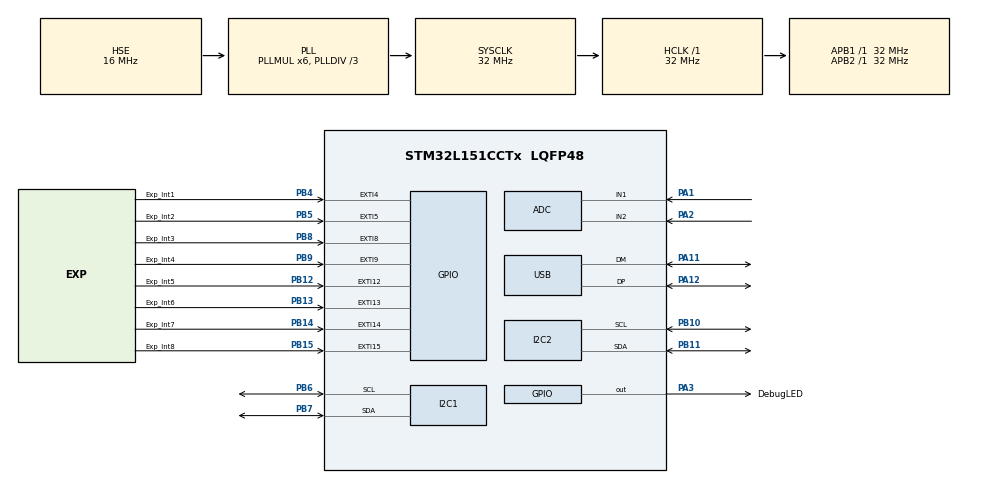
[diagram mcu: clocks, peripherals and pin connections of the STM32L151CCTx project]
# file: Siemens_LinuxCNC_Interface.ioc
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ADC.Channel-0\#ChannelRegularConversion=ADC_CHANNEL_1
ADC.Channel-1\#ChannelRegularConversion=ADC_CHANNEL_2
ADC.ClockPrescaler=ADC_CLOCK_ASYNC_DIV4
ADC.NbrOfConversion=2
ADC.NbrOfConversionFlag=1
ADC.Rank-0\#ChannelRegularConversion=1
ADC.Rank-1\#ChannelRegularConversion=2
ADC.SamplingTime-0\#ChannelRegularConversion=ADC_SAMPLETIME_192CYCLES
ADC.SamplingTime-1\#ChannelRegularConversion=ADC_SAMPLETIME_192CYCLES
Dma.ADC.0.Direction=DMA_PERIPH_TO_MEMORY
Dma.ADC.0.Instance=DMA1_Channel1
Dma.ADC.0.MemDataAlignment=DMA_MDATAALIGN_HALFWORD
Dma.ADC.0.MemInc=DMA_MINC_ENABLE
Dma.ADC.0.Mode=DMA_CIRCULAR
Dma.ADC.0.PeriphDataAlignment=DMA_PDATAALIGN_HALFWORD
Dma.ADC.0.PeriphInc=DMA_PINC_DISABLE
Dma.ADC.0.Priority=DMA_PRIORITY_LOW
Dma.Request0=ADC
I2C1.I2C_Mode=I2C_Fast
I2C2.I2C_Mode=I2C_Fast
Mcu.Family=STM32L1
Mcu.Name=STM32L151CCTx
Mcu.Package=LQFP48
NVIC.ADC1_IRQn=true\:1\:0\:true\:false\:true\:true\:true\:true
NVIC.DMA1_Channel1_IRQn=true\:0\:0\:false\:false\:true\:false\:true\:true
NVIC.EXTI15_10_IRQn=true\:0\:0\:false\:false\:true\:true\:true\:true
NVIC.EXTI4_IRQn=true\:0\:0\:false\:false\:true\:true\:true\:true
NVIC.EXTI9_5_IRQn=true\:0\:0\:false\:false\:true\:true\:true\:true
NVIC.PriorityGroup=NVIC_PRIORITYGROUP_4
NVIC.TIM3_IRQn=true\:0\:0\:false\:false\:true\:true\:true\:true
NVIC.USB_LP_IRQn=true\:0\:0\:false\:false\:true\:false\:true\:true
PA1.Mode=IN1
PA1.Signal=ADC_IN1
PA11.Mode=Device
PA11.Signal=USB_DM
PA12.Mode=Device
PA12.Signal=USB_DP
PA13.Mode=JTAG_4_pins
PA13.Signal=SYS_JTMS-SWDIO
PA14.Mode=JTAG_4_pins
PA14.Signal=SYS_JTCK-SWCLK
PA15.Mode=JTAG_4_pins
PA15.Signal=SYS_JTDI
PA2.Mode=IN2
PA2.Signal=ADC_IN2
PA3.GPIO_Label=DebugLED
PA3.Signal=GPIO_Output
PB10.Mode=I2C
PB10.Signal=I2C2_SCL
PB11.Mode=I2C
PB11.Signal=I2C2_SDA
PB12.GPIO_Label=Exp_Int5
PB12.GPIO_ModeDefaultEXTI=GPIO_MODE_IT_FALLING
PB12.Signal=GPXTI12
PB13.GPIO_Label=Exp_Int6
PB13.GPIO_ModeDefaultEXTI=GPIO_MODE_IT_FALLING
PB13.Signal=GPXTI13
PB14.GPIO_Label=Exp_Int7
PB14.GPIO_ModeDefaultEXTI=GPIO_MODE_IT_FALLING
PB14.Signal=GPXTI14
PB15.GPIO_Label=Exp_Int8
PB15.GPIO_ModeDefaultEXTI=GPIO_MODE_IT_FALLING
PB15.Signal=GPXTI15
PB3.Mode=JTAG_4_pins
PB3.Signal=SYS_JTDO-TRACESWO
PB4.GPIO_Label=Exp_Int1
PB4.GPIO_ModeDefaultEXTI=GPIO_MODE_IT_FALLING
PB4.Signal=GPXTI4
PB5.GPIO_Label=Exp_Int2
PB5.GPIO_ModeDefaultEXTI=GPIO_MODE_IT_FALLING
PB5.Signal=GPXTI5
PB6.Mode=I2C
PB6.Signal=I2C1_SCL
PB7.Mode=I2C
PB7.Signal=I2C1_SDA
PB8.GPIO_Label=Exp_Int3
PB8.GPIO_ModeDefaultEXTI=GPIO_MODE_IT_FALLING
PB8.Signal=GPXTI8
PB9.GPIO_Label=Exp_Int4
PB9.GPIO_ModeDefaultEXTI=GPIO_MODE_IT_FALLING
PB9.Signal=GPXTI9
PH0-OSC_IN.Mode=HSE-External-Oscillator
PH0-OSC_IN.Signal=RCC_OSC_IN
PH1-OSC_OUT.Mode=HSE-External-Oscillator
PH1-OSC_OUT.Signal=RCC_OSC_OUT
ProjectManager.HeapSize=0x200
ProjectManager.StackSize=0x400
ProjectManager.TargetToolchain=CMake
RCC.48MHZClocksFreq_Value=48000000
RCC.AHBFreq_Value=32000000
RCC.APB1Freq_Value=32000000
RCC.APB1TimFreq_Value=32000000
RCC.APB2Freq_Value=32000000
RCC.APB2TimFreq_Value=32000000
RCC.HCLKFreq_Value=32000000
RCC.HSE_VALUE=16000000
RCC.HSI_VALUE=16000000
RCC.LSE_VALUE=32768
RCC.MSI_VALUE=2097000
RCC.PLLDIV=RCC_PLL_DIV3
RCC.PLLMUL=RCC_PLL_MUL6
RCC.SYSCLKFreq_VALUE=32000000
RCC.SYSCLKSource=RCC_SYSCLKSOURCE_PLLCLK
RCC.VCOOutputFreq_Value=96000000
TIM3.AutoReloadPreload=TIM_AUTORELOAD_PRELOAD_ENABLE
TIM3.Period=5000
TIM3.Prescaler=3200
USB_DEVICE.CLASS_NAME_FS=CDC
USB_DEVICE.LANGID_STRING=1031
USB_DEVICE.MANUFACTURER_STRING=PedPEx
USB_DEVICE.PRODUCT_STRING_CDC_FS=SiemensInterface Virtual ComPort
USB_DEVICE.USBD_MAX_STR_DESC_SIZ=1024
USB_DEVICE.VirtualMode=Cdc
USB_DEVICE.VirtualModeFS=Cdc_FS
VP_TIM3_VS_ClockSourceINT.Mode=Internal
VP_USB_DEVICE_VS_USB_DEVICE_CDC_FS.Mode=CDC_FS
board=custom

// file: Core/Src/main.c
/* USER CODE BEGIN Header */
/**
  ******************************************************************************
  * @file           : main.c
  * @brief          : Main program body
  ******************************************************************************
  * @attention
  *
  * Copyright (c) 2025 STMicroelectronics.
  * All rights reserved.
  *
  * This software is licensed under terms that can be found in the LICENSE file
  * in the root directory of this software component.
  * If no LICENSE file comes with this software, it is provided AS-IS.
  *
  ******************************************************************************
  */
/* USER CODE END Header */
#include "main.h"
#include "usb_device.h"

/* USER CODE BEGIN Includes */
#include "pca9555.h"
#include "pca9555.c"
#include <stdbool.h>
#include "usbd_cdc_if.h"
#include <stdio.h>
#include <string.h>

#define adc_used 1
#define number_of_exp 8
#define number_of_input_exp 5
#define timeout 10000 //10 seconds

/* USER CODE END Includes */

ADC_HandleTypeDef hadc;
DMA_HandleTypeDef hdma_adc;

I2C_HandleTypeDef hi2c1;
I2C_HandleTypeDef hi2c2;

TIM_HandleTypeDef htim3;

/* USER CODE BEGIN PV */

//Serial COM varaibles
uint8_t SerialConnected = 0;    //0=not connected; 1=connected; 2=connection lost
uint32_t LastTickConnected = 0; //HAL Tick variable - used for serial timeout detection
bool manual_CMD_Mode = 0;       //used for costum CMD "E1:0", in manual mode no timeout occurs

//array of expander IDs, get's initialised in the init_expanders function
PCA9555_HandleTypeDef exp[number_of_exp];
//variable for reading inputs when ISR was triggered
bool inputChanged = false;    //true = inputs will be read; false = no toggled input detected
uint16_t toggledGPIO = 0;      //toggled gpio pin (expander still needs to be determined)
//varaible to find out which inputs changed
uint16_t raw_exp_inputdata[number_of_input_exp];
//Encoder data
uint8_t enc_gray[2] = {0,0};
uint8_t enc_pos[2] = {0,0};
uint8_t enc_retval[2] = {0,0};

//ADC variables
uint16_t rawADCvalues[2];
uint16_t oldADCvalues[2];
uint16_t ADCvalues[2] = {0,0};
bool adc_convCompleted = 0;
uint8_t adc_hysteresis = 5;

//all input expanders with ID
uint8_t input_expander[number_of_input_exp] = {1,2,3,5,6};

/* USER CODE END PV */

void SystemClock_Config(void);
static void MX_GPIO_Init(void);
static void MX_DMA_Init(void);
static void MX_ADC_Init(void);
static void MX_I2C1_Init(void);
static void MX_I2C2_Init(void);
static void MX_TIM3_Init(void);
/* USER CODE BEGIN PFP */

uint8_t getinput(uint8_t expander, uint8_t pin);
void setOutput(uint8_t pin, uint8_t state);
void sendData(char sig, uint8_t pin, uint16_t state);
void USB_CDC_RxHandler(uint8_t* Buf, uint32_t Len);
void init_expanders();
void init_dataregs();
void serial_com_Handler();
void updateandsendEncoder(uint8_t pin, uint8_t pin_state);
void sendAllInputStatus();
uint8_t greyToBin(uint8_t n);

/* USER CODE END PFP */

int main(void)
{

  /* MCU Configuration--------------------------------------------------------*/

  /* Reset of all peripherals, Initializes the Flash interface and the Systick. */
  HAL_Init();

  /* Configure the system clock */
  SystemClock_Config();

  /* Initialize all configured peripherals */
  MX_GPIO_Init();
  MX_DMA_Init();
  MX_ADC_Init();
  MX_I2C1_Init();
  MX_I2C2_Init();
  MX_USB_DEVICE_Init();
  MX_TIM3_Init();
  /* USER CODE BEGIN 2 */
  HAL_StatusTypeDef HAL_status = 0, returnvalue = 0;

  init_expanders();
  init_dataregs();

  /* USER CODE END 2 */

  /* Infinite loop */
  while (1)
  {
    serial_com_Handler();
  }
}

void SystemClock_Config(void)
{
  RCC_OscInitTypeDef RCC_OscInitStruct = {0};
  RCC_ClkInitTypeDef RCC_ClkInitStruct = {0};

  /** Configure the main internal regulator output voltage
  */
  __HAL_PWR_VOLTAGESCALING_CONFIG(PWR_REGULATOR_VOLTAGE_SCALE1);

  /** Initializes the RCC Oscillators according to the specified parameters
  * in the RCC_OscInitTypeDef structure.
  */
  RCC_OscInitStruct.OscillatorType = RCC_OSCILLATORTYPE_HSI|RCC_OSCILLATORTYPE_HSE;
  RCC_OscInitStruct.HSEState = RCC_HSE_ON;
  RCC_OscInitStruct.HSIState = RCC_HSI_ON;
  RCC_OscInitStruct.HSICalibrationValue = RCC_HSICALIBRATION_DEFAULT;
  RCC_OscInitStruct.PLL.PLLState = RCC_PLL_ON;
  RCC_OscInitStruct.PLL.PLLSource = RCC_PLLSOURCE_HSE;
  RCC_OscInitStruct.PLL.PLLMUL = RCC_PLL_MUL6;
  RCC_OscInitStruct.PLL.PLLDIV = RCC_PLL_DIV3;
  if (HAL_RCC_OscConfig(&RCC_OscInitStruct) != HAL_OK)
  {
    Error_Handler();
  }

  /** Initializes the CPU, AHB and APB buses clocks
  */
  RCC_ClkInitStruct.ClockType = RCC_CLOCKTYPE_HCLK|RCC_CLOCKTYPE_SYSCLK
                              |RCC_CLOCKTYPE_PCLK1|RCC_CLOCKTYPE_PCLK2;
  RCC_ClkInitStruct.SYSCLKSource = RCC_SYSCLKSOURCE_PLLCLK;
  RCC_ClkInitStruct.AHBCLKDivider = RCC_SYSCLK_DIV1;
  RCC_ClkInitStruct.APB1CLKDivider = RCC_HCLK_DIV1;
  RCC_ClkInitStruct.APB2CLKDivider = RCC_HCLK_DIV1;

  if (HAL_RCC_ClockConfig(&RCC_ClkInitStruct, FLASH_LATENCY_1) != HAL_OK)
  {
    Error_Handler();
  }
}

static void MX_ADC_Init(void)
{

  ADC_ChannelConfTypeDef sConfig = {0};

  /** Configure the global features of the ADC (Clock, Resolution, Data Alignment and number of conversion)
  */
  hadc.Instance = ADC1;
  hadc.Init.ClockPrescaler = ADC_CLOCK_ASYNC_DIV4;
  hadc.Init.Resolution = ADC_RESOLUTION_12B;
  hadc.Init.DataAlign = ADC_DATAALIGN_RIGHT;
  hadc.Init.ScanConvMode = ADC_SCAN_ENABLE;
  hadc.Init.EOCSelection = ADC_EOC_SEQ_CONV;
  hadc.Init.LowPowerAutoWait = ADC_AUTOWAIT_DISABLE;
  hadc.Init.LowPowerAutoPowerOff = ADC_AUTOPOWEROFF_DISABLE;
  hadc.Init.ChannelsBank = ADC_CHANNELS_BANK_A;
  hadc.Init.ContinuousConvMode = ENABLE;
  hadc.Init.NbrOfConversion = 2;
  hadc.Init.DiscontinuousConvMode = DISABLE;
  hadc.Init.ExternalTrigConv = ADC_SOFTWARE_START;
  hadc.Init.ExternalTrigConvEdge = ADC_EXTERNALTRIGCONVEDGE_NONE;
  hadc.Init.DMAContinuousRequests = ENABLE;
  if (HAL_ADC_Init(&hadc) != HAL_OK)
  {
    Error_Handler();
  }

  /** Configure for the selected ADC regular channel its corresponding rank in the sequencer and its sample time.
  */
  sConfig.Channel = ADC_CHANNEL_1;
  sConfig.Rank = ADC_REGULAR_RANK_1;
  sConfig.SamplingTime = ADC_SAMPLETIME_192CYCLES;
  if (HAL_ADC_ConfigChannel(&hadc, &sConfig) != HAL_OK)
  {
    Error_Handler();
  }

  /** Configure for the selected ADC regular channel its corresponding rank in the sequencer and its sample time.
  */
  sConfig.Channel = ADC_CHANNEL_2;
  sConfig.Rank = ADC_REGULAR_RANK_2;
  sConfig.SamplingTime = ADC_SAMPLETIME_192CYCLES;
  if (HAL_ADC_ConfigChannel(&hadc, &sConfig) != HAL_OK)
  {
    Error_Handler();
  }

}

static void MX_I2C1_Init(void)
{

  hi2c1.Instance = I2C1;
  hi2c1.Init.ClockSpeed = 400000;
  hi2c1.Init.DutyCycle = I2C_DUTYCYCLE_2;
  hi2c1.Init.OwnAddress1 = 0;
  hi2c1.Init.AddressingMode = I2C_ADDRESSINGMODE_7BIT;
  hi2c1.Init.DualAddressMode = I2C_DUALADDRESS_DISABLE;
  hi2c1.Init.OwnAddress2 = 0;
  hi2c1.Init.GeneralCallMode = I2C_GENERALCALL_DISABLE;
  hi2c1.Init.NoStretchMode = I2C_NOSTRETCH_DISABLE;
  if (HAL_I2C_Init(&hi2c1) != HAL_OK)
  {
    Error_Handler();
  }

}

static void MX_I2C2_Init(void)
{

  hi2c2.Instance = I2C2;
  hi2c2.Init.ClockSpeed = 400000;
  hi2c2.Init.DutyCycle = I2C_DUTYCYCLE_2;
  hi2c2.Init.OwnAddress1 = 0;
  hi2c2.Init.AddressingMode = I2C_ADDRESSINGMODE_7BIT;
  hi2c2.Init.DualAddressMode = I2C_DUALADDRESS_DISABLE;
  hi2c2.Init.OwnAddress2 = 0;
  hi2c2.Init.GeneralCallMode = I2C_GENERALCALL_DISABLE;
  hi2c2.Init.NoStretchMode = I2C_NOSTRETCH_DISABLE;
  if (HAL_I2C_Init(&hi2c2) != HAL_OK)
  {
    Error_Handler();
  }

}

static void MX_TIM3_Init(void)
{

  TIM_ClockConfigTypeDef sClockSourceConfig = {0};
  TIM_MasterConfigTypeDef sMasterConfig = {0};

  htim3.Instance = TIM3;
  htim3.Init.Prescaler = 3200;
  htim3.Init.CounterMode = TIM_COUNTERMODE_UP;
  htim3.Init.Period = 5000;
  htim3.Init.ClockDivision = TIM_CLOCKDIVISION_DIV1;
  htim3.Init.AutoReloadPreload = TIM_AUTORELOAD_PRELOAD_ENABLE;
  if (HAL_TIM_Base_Init(&htim3) != HAL_OK)
  {
    Error_Handler();
  }
  sClockSourceConfig.ClockSource = TIM_CLOCKSOURCE_INTERNAL;
  if (HAL_TIM_ConfigClockSource(&htim3, &sClockSourceConfig) != HAL_OK)
  {
    Error_Handler();
  }
  sMasterConfig.MasterOutputTrigger = TIM_TRGO_RESET;
  sMasterConfig.MasterSlaveMode = TIM_MASTERSLAVEMODE_DISABLE;
  if (HAL_TIMEx_MasterConfigSynchronization(&htim3, &sMasterConfig) != HAL_OK)
  {
    Error_Handler();
  }

}

static void MX_DMA_Init(void)
{

  /* DMA controller clock enable */
  __HAL_RCC_DMA1_CLK_ENABLE();

  /* DMA interrupt init */
  /* DMA1_Channel1_IRQn interrupt configuration */
  HAL_NVIC_SetPriority(DMA1_Channel1_IRQn, 0, 0);
  HAL_NVIC_EnableIRQ(DMA1_Channel1_IRQn);

}

static void MX_GPIO_Init(void)
{
  GPIO_InitTypeDef GPIO_InitStruct = {0};

  /* GPIO Ports Clock Enable */
  __HAL_RCC_GPIOH_CLK_ENABLE();
  __HAL_RCC_GPIOA_CLK_ENABLE();
  __HAL_RCC_GPIOB_CLK_ENABLE();

  /*Configure GPIO pin Output Level */
  HAL_GPIO_WritePin(DebugLED_GPIO_Port, DebugLED_Pin, GPIO_PIN_RESET);

  /*Configure GPIO pin : DebugLED_Pin */
  GPIO_InitStruct.Pin = DebugLED_Pin;
  GPIO_InitStruct.Mode = GPIO_MODE_OUTPUT_PP;
  GPIO_InitStruct.Pull = GPIO_NOPULL;
  GPIO_InitStruct.Speed = GPIO_SPEED_FREQ_LOW;
  HAL_GPIO_Init(DebugLED_GPIO_Port, &GPIO_InitStruct);

  /*Configure GPIO pins : Exp_Int5_Pin Exp_Int6_Pin Exp_Int7_Pin Exp_Int8_Pin
                           Exp_Int1_Pin Exp_Int2_Pin Exp_Int3_Pin Exp_Int4_Pin */
  GPIO_InitStruct.Pin = Exp_Int5_Pin|Exp_Int6_Pin|Exp_Int7_Pin|Exp_Int8_Pin
                          |Exp_Int1_Pin|Exp_Int2_Pin|Exp_Int3_Pin|Exp_Int4_Pin;
  GPIO_InitStruct.Mode = GPIO_MODE_IT_FALLING;
  GPIO_InitStruct.Pull = GPIO_NOPULL;
  HAL_GPIO_Init(GPIOB, &GPIO_InitStruct);

  /* EXTI interrupt init*/
  HAL_NVIC_SetPriority(EXTI4_IRQn, 0, 0);
  HAL_NVIC_EnableIRQ(EXTI4_IRQn);

  HAL_NVIC_SetPriority(EXTI9_5_IRQn, 0, 0);
  HAL_NVIC_EnableIRQ(EXTI9_5_IRQn);

  HAL_NVIC_SetPriority(EXTI15_10_IRQn, 0, 0);
  HAL_NVIC_EnableIRQ(EXTI15_10_IRQn);

}

/* USER CODE BEGIN 4 */

/**
  * @brief  Serial Handler for serial communication with LinuxCNC or for manual mode
  * @retval None
  */
void serial_com_Handler()
{
  //waiting for connection
  if(SerialConnected == 0)
  {
    //turn of DebugLED/Connection Status LED
    HAL_GPIO_WritePin(GPIOA, GPIO_PIN_3, false);
    //wait for connection
    while(SerialConnected == 0)
    {
      for(uint8_t i = 0; i <= 52 && SerialConnected == 0; i++)
      {
        if(i == 0)
        {
          setOutput(i, 1);
          setOutput(51, 0);
        }
        else if(i == 12 || i == 31 || i == 45 || i == 47)
        {
          setOutput(i-1, 0);
        }
        else if(i == 13 || i == 32 || i == 46 || i == 48)
        {
          setOutput(i, 1);
          setOutput(i-2, 0);
        }
        else if(i == 52)
        {
          init_ExpOutputs();
          break;
        }
        else
        {
          setOutput(i, 1);
          setOutput(i-1, 0);
        }

        CDC_Transmit_FS("E0:0\n", 5);
        HAL_Delay(200);
      }
    }

  }

  //new ADC values?
  if(adc_convCompleted == 1)
  {
    ADCvalues[0] = (uint16_t)rawADCvalues[0] >> 2;
    ADCvalues[1] = (uint16_t)rawADCvalues[1] >> 2;

    //just send data in case something changed beyond the hysteresis
    if (abs((int)oldADCvalues[0] - (int)ADCvalues[0]) > adc_hysteresis && SerialConnected == 1)
    {
        sendData('A', 0, ADCvalues[0]);
        oldADCvalues[0] = ADCvalues[0];
    }

    if (abs((int)oldADCvalues[1] - (int)ADCvalues[1]) > adc_hysteresis && SerialConnected == 1)
    {
        sendData('A', 1, ADCvalues[1]);
        oldADCvalues[1] = ADCvalues[1];
    }

    adc_convCompleted = 0;
  }

  //stuff to do when connection is established
  if(SerialConnected == 1)
  {
    //timeout triggered? just checked in auto-mode (manual_CMD_Mode == 0)
    if(HAL_GetTick() - LastTickConnected > timeout && manual_CMD_Mode == 0 && LastTickConnected != 0)
    {
      CDC_Transmit_FS("F0:1\r\n", 6);
      //set connection status to connection lost
      SerialConnected = 2;
      //reset all outputs
      init_ExpOutputs();
    }

    //input changed?
    if(inputChanged)
    {
      read_changed_Input(toggledGPIO);
    }
    //for more stuff
  }

  //if connection status is connection lost => blink LED 2x per second
  while(SerialConnected == 2)
  {
    for(uint8_t k = 0; k <= 1 && SerialConnected == 2; k++)
    {
      for(uint8_t i = 0; i <= 51 && SerialConnected == 2; i++)
      {
        if(i == 12 || i == 31 || i == 45 || i == 47)
        {
          ;
        }
        else
        {
          setOutput(i, k);
        }
      }
      HAL_Delay(500);
      HAL_GPIO_TogglePin(GPIOA, GPIO_PIN_3);
    }
  }
}

/**
  * @brief  needs to be called when ISR for input change was detected
  * @retval None
  */
void read_changed_Input(uint16_t GPIO_Pin)
{
  //temp error variable
  HAL_StatusTypeDef HALreturn = 0;
  //find out which expander got input change
  uint8_t exp_interrupt = 255;  //init with error value
  uint8_t exp_data = 255;       //init with error value

  //Find out which expander initiated interrupt
  switch (GPIO_Pin)
  {
    /* case GPIO_PIN_4: //exp_int1 - no inputs
      exp_interrupt = 0; //expander 0
      exp_data = 255;
      break; */
    case GPIO_PIN_5: //exp_int2
      exp_interrupt = 1; //expander 1
      exp_data = 0;
      break;
    case GPIO_PIN_8: //exp_int3
      exp_interrupt = 2; //expander 2
      exp_data = 1;
      break;
    case GPIO_PIN_9: //exp_int4
      exp_interrupt = 3; //expander 3
      exp_data = 2;
      break;
    /* case GPIO_PIN_12: //exp_int5 - no inputs
      exp_interrupt = 4; //expander 4
      exp_data = 255;
      break; */
    case GPIO_PIN_13: //exp_int6
      exp_interrupt = 5; //expander 5
      exp_data = 3;
      break;
    case GPIO_PIN_14: //exp_int7
      exp_interrupt = 6; //expander 6
      exp_data = 4;
      break;
    /* case GPIO_PIN_15: //exp_int8 - no inputs
      exp_interrupt = 7; //expander 7
      exp_data = 255;
      break; */
    default:
      //return HAL_ERROR;
      Error_Handler();
      break;
  }

  //temp variable for storing read inputs and later calculating differences via bitwise XOR
  uint16_t temp_exp_inputs = 0;
  //reading inputdata from expander that initiated interrupt
  HALreturn = pca9555_readRegister(&exp[exp_interrupt], PCA9555_CB_INPUTS_PORTS, &temp_exp_inputs);
  //invert read value, bacause Siemens HMI uses Pull-Ups on all normal inputs and Pull-Downs on all "safety inputs"
  temp_exp_inputs = ~(temp_exp_inputs);

  //find out which inputs changed since last interrupt or initial input read
  temp_exp_inputs = temp_exp_inputs ^ raw_exp_inputdata[exp_data];
  //update value to detect changed pin(s) in the next interrupt event
  raw_exp_inputdata[exp_data] = raw_exp_inputdata[exp_data] ^ temp_exp_inputs;

  //if serial communication is active
  if(SerialConnected == 1)
  {
    //test every bit of the 2 bytes for changed pin(s)
    for(uint8_t i = 0; i < 16; i++)
    {
      //detect a changed pin/bit - note: there could be the possibility, that mor than one input changed
      //hence all the handling needs to be done in the ISR and can not be done in the main function, a break from the for-loop is also not clever
      if((temp_exp_inputs >> i) & 0x0001)
      {
        //look up which input is connected to corresponding expander input pin
        uint8_t pressed_input = getinput(exp_interrupt, i);

        //change on encoder?
        if(pressed_input >= 64 && pressed_input <= 79)
        {
          //update encoder value(s)
          updateandsendEncoder(pressed_input, (raw_exp_inputdata[exp_data] >> i) & 0x0001);
          break;
        }
        else
        {
          //send state of individual pin via virtual serial port
          sendData('I', pressed_input, (raw_exp_inputdata[exp_data] >> i) & 0x0001);
        }
      }
    }
  }

  //Error handling
  if (HALreturn != HAL_OK || exp_data == 255 || exp_interrupt == 255)
  {
    Error_Handler();
  }

  //reset global flag
  inputChanged = false;
}

/**
  * @brief  init Data Registers state
  * @retval None
  */
void init_dataregs()
{
  //iterate over all input expanders
  for(uint8_t i = 0; i < number_of_input_exp; i++)
  {
    //read raw input data from every expander
    pca9555_readRegister(&exp[input_expander[i]], PCA9555_CB_INPUTS_PORTS, &raw_exp_inputdata[i]);
    //invert register
    raw_exp_inputdata[i] = ~(raw_exp_inputdata[i]);

    init_ExpOutputs();
  }
}

/**
  * @brief  Turn off all Expander outputs
  * @retval None
  */
void init_ExpOutputs()
{
  HAL_StatusTypeDef returnvalueinit = 0;

  for(uint8_t i = 0; i <= 15; i++)
  {
    //init EXP0
    returnvalueinit += pca9555_DigitalWrite(&exp[0], i, PCA9555_BIT_SET);
    //init EXP4
    returnvalueinit += pca9555_DigitalWrite(&exp[4], i, PCA9555_BIT_SET);
    //init EXP7
    returnvalueinit += pca9555_DigitalWrite(&exp[7], i, PCA9555_BIT_SET);
  }
  //init EXP3 - First Byte Outputs, Second Byte: 4 LSBits Outputs, 4 MSBits Inputs
  for(uint8_t i = 0; i <= 7; i++)
  {
    returnvalueinit += pca9555_DigitalWrite(&exp[3], i, PCA9555_BIT_SET);
  }
  for(uint8_t i = 12; i <= 15; i++)
  {
    returnvalueinit += pca9555_DigitalWrite(&exp[3], i, PCA9555_BIT_SET);
  }

  //Error handling
  if (returnvalueinit != HAL_OK)
  {
    Error_Handler();
  }
}

/**
  * @brief  Initialise all expanders
  * @retval None
  */
void init_expanders()
{
  //pause interrupts
  __disable_irq();
  //I2C start adress
  uint16_t address_expander = 0x20;
  //tmp value for error detection
  HAL_StatusTypeDef returnvalueinit = 0;

  //init Expanders on i2c busses - i know, the layout is "a bit weird" ...
  returnvalueinit += pca9555_init(&exp[4], &hi2c2, address_expander++);
  returnvalueinit += pca9555_init(&exp[5], &hi2c2, address_expander++);
  returnvalueinit += pca9555_init(&exp[6], &hi2c2, address_expander++);
  returnvalueinit += pca9555_init(&exp[7], &hi2c2, address_expander++);
  returnvalueinit += pca9555_init(&exp[0], &hi2c1, address_expander++);
  returnvalueinit += pca9555_init(&exp[1], &hi2c1, address_expander++);
  returnvalueinit += pca9555_init(&exp[2], &hi2c1, address_expander++);
  returnvalueinit += pca9555_init(&exp[3], &hi2c1, address_expander);

  //init Expanders used as Outputs (EXP0, EXP3, EXP4 and EXP7)
  //init EXP0
  for(uint8_t i = 0; i <= 15; i++)
  {
    returnvalueinit += pca9555_pinMode(&exp[0], i, PCA9555_PIN_OUTPUT_MODE, PCA9555_POLARITY_NORMAL);
  }
  //init EXP3 - First Byte Outputs, Second Byte: 4 LSBits Outputs, 4 MSBits Inputs
  for(uint8_t i = 0; i <= 7; i++)
  {
    returnvalueinit += pca9555_pinMode(&exp[3], i, PCA9555_PIN_OUTPUT_MODE, PCA9555_POLARITY_NORMAL);
  }
  for(uint8_t i = 12; i <= 15; i++)
  {
    returnvalueinit += pca9555_pinMode(&exp[3], i, PCA9555_PIN_OUTPUT_MODE, PCA9555_POLARITY_NORMAL);
  }
  //init EXP4
  for(uint8_t i = 0; i <= 15; i++)
  {
    returnvalueinit += pca9555_pinMode(&exp[4], i, PCA9555_PIN_OUTPUT_MODE, PCA9555_POLARITY_NORMAL);
  }
  //init EXP7
  for(uint8_t i = 0; i <= 15; i++)
  {
    returnvalueinit += pca9555_pinMode(&exp[7], i, PCA9555_PIN_OUTPUT_MODE, PCA9555_POLARITY_NORMAL);
  }

  init_ExpOutputs();

  /*
  //init Expanders used as Inputs (EXP1, EXP2, EXP3, EXP5 and EXP6)
  //init EXP1
  for(uint8_t i = 0; i <= 15; i++)
  {
    returnvalueinit += pca9555_pinMode(&exp[1], i, PCA9555_PIN_INPUT_MODE, PCA9555_POLARITY_INVERTED);
  }
  //init EXP2
  for(uint8_t i = 0; i <= 15; i++)
  {
    returnvalueinit += pca9555_pinMode(&exp[2], i, PCA9555_PIN_INPUT_MODE, PCA9555_POLARITY_INVERTED);
  }
  //init EXP3
  for(uint8_t i = 8; i <= 11; i++) //just 4 LSBits in second Byte are Inputs
  {
    returnvalueinit += pca9555_pinMode(&exp[3], i, PCA9555_PIN_INPUT_MODE, PCA9555_POLARITY_INVERTED);
  }
  //init EXP5
  for(uint8_t i = 0; i <= 15; i++)
  {
    returnvalueinit += pca9555_pinMode(&exp[5], i, PCA9555_PIN_INPUT_MODE, PCA9555_POLARITY_INVERTED);
  }
  //init EXP6
  for(uint8_t i = 0; i <= 15; i++)
  {
    returnvalueinit += pca9555_pinMode(&exp[6], i, PCA9555_PIN_INPUT_MODE, PCA9555_POLARITY_INVERTED);
  } */

  //reenable interrupts
  __enable_irq();

  //COMMENTED OUT because the command is working and setting all registers as intended but is not reporting correctly to HAL
  //Error handling
  /*if (returnvalueinit != HAL_OK)
  {
    Error_Handler();
  }*/
}

/**
  * @brief  ISR for the external interrupts
  * @retval None
  */
void HAL_GPIO_EXTI_Callback(uint16_t GPIO_Pin)
{
  //handling serial output of pressed input in function serial_com_Handler if "true" - nicer solution, but not reliable working
  if(false)
  {
    toggledGPIO = GPIO_Pin;
    inputChanged = true;
  }
  //handling serial output of pressed input within ISR if "false" - not a good solution, but only reliable working one
  else
  {
    //temp error variable
    HAL_StatusTypeDef HALreturn = 0;
    //find out which expander got input change
    uint8_t exp_interrupt = 255;  //init with error value
    uint8_t exp_data = 255;       //init with error value

    //Find out which expander initiated interrupt
    switch (GPIO_Pin)
    {
      /* case GPIO_PIN_4: //exp_int1 - no inputs
        exp_interrupt = 0; //expander 0
        exp_data = 255;
        break; */
      case GPIO_PIN_5: //exp_int2
        exp_interrupt = 1; //expander 1
        exp_data = 0;
        break;
      case GPIO_PIN_8: //exp_int3
        exp_interrupt = 2; //expander 2
        exp_data = 1;
        break;
      case GPIO_PIN_9: //exp_int4
        exp_interrupt = 3; //expander 3
        exp_data = 2;
        break;
      /* case GPIO_PIN_12: //exp_int5 - no inputs
        exp_interrupt = 4; //expander 4
        exp_data = 255;
        break; */
      case GPIO_PIN_13: //exp_int6
        exp_interrupt = 5; //expander 5
        exp_data = 3;
        break;
      case GPIO_PIN_14: //exp_int7
        exp_interrupt = 6; //expander 6
        exp_data = 4;
        break;
      /* case GPIO_PIN_15: //exp_int8 - no inputs
        exp_interrupt = 7; //expander 7
        exp_data = 255;
        break; */
      default:
        //return HAL_ERROR;
        Error_Handler();
        break;
    }

    //temp variable for storing read inputs and later calculating differences via bitwise XOR
    uint16_t temp_exp_inputs = 0;
    //reading inputdata from expander that initiated interrupt
    HALreturn = pca9555_readRegister(&exp[exp_interrupt], PCA9555_CB_INPUTS_PORTS, &temp_exp_inputs);
    //invert read value, bacause Siemens HMI uses Pull-Ups on all normal inputs and Pull-Downs on all "safety inputs"
    temp_exp_inputs = ~(temp_exp_inputs);

    //find out which inputs changed since last interrupt or initial input read
    temp_exp_inputs = temp_exp_inputs ^ raw_exp_inputdata[exp_data];
    //update value to detect changed pin(s) in the next interrupt event
    raw_exp_inputdata[exp_data] = raw_exp_inputdata[exp_data] ^ temp_exp_inputs;

    //if serial communication is active
    if(SerialConnected == 1)
    {
      //test every bit of the 2 bytes for changed pin(s)
      for(uint8_t i = 0; i < 16; i++)
      {
        //detect a changed pin/bit - note: there could be the possibility, that mor than one input changed
        //hence all the handling needs to be done in the ISR and can not be done in the main function, a break from the for-loop is also not clever
        if((temp_exp_inputs >> i) & 0x0001)
        {
          //look up which input is connected to corresponding expander input pin
          uint8_t pressed_input = getinput(exp_interrupt, i);

          //change on encoder?
          if(pressed_input >= 64 && pressed_input <= 79)
          {
            //update encoder value(s)
            updateandsendEncoder(pressed_input, (raw_exp_inputdata[exp_data] >> i) & 0x0001);
            break;
          }
          else
          {
            //send state of individual pin via virtual serial port
            sendData('I', pressed_input, (raw_exp_inputdata[exp_data] >> i) & 0x0001);
          }
        }
      }
    }

    //Error handling
    if (/*HALreturn != HAL_OK || */ exp_data == 255 || exp_interrupt == 255)
    {
      Error_Handler();
    }
  }
}

/**
  * @brief  "ISR" for incoming serial msg
  * @retval None
  */
void USB_CDC_RxHandler(uint8_t* Buf, uint32_t Len)
{
  char CMD = 'a';                                             //variable for received command - see ArduinoConnector docs for mor info
  int pin = 0, state = 0;                                     //corresponding pin from Command, in the following example marked as 7: "O7:1"
  int i = sscanf((char*)Buf, "%c%d:%d", &CMD, &pin, &state);  //write received text to their corresponding variable

  //check for valid serial CMD
  if(CMD >= 'A' && CMD <= 'Z' && i == 3)
  {
    //serial connection command?
    if(CMD =='E')
    {
      if(SerialConnected != 1)
      {
        HAL_GPIO_WritePin(GPIOA, GPIO_PIN_3, true); //turn on LED
        SerialConnected = 1;                        //set serial status to connected
        sendAllInputStatus();                     //send initial state
      }
      LastTickConnected = HAL_GetTick();  //write last Tick to tmp variable for timeout detection

      if(pin == 0)                        //machine mode
      {
        manual_CMD_Mode = 0;
      }
      else if(pin == 1)                   //manual mode
      {
        manual_CMD_Mode = 1;
      }
      else
      {
        //FAULT
        char sendBuf[15] = "Command fault!\n";
        CDC_Transmit_FS(sendBuf, strlen(sendBuf));
      }
    }
    //command to write output if connected
    else if(CMD == 'O' && SerialConnected == 1)
    {
      //set output to sent state
      setOutput(pin, state);
    }
    else if(CMD == 'A' && SerialConnected == 1)
    {
        //ADC needed?
        HAL_ADC_Start_DMA(&hadc, (uint32_t *)rawADCvalues, 2);
    }
    else
    {
      char sendBuf[20] = "command not found!\n";
      CDC_Transmit_FS(sendBuf, strlen(sendBuf));
    }
  }
  else
  {
    char sendBuf[16] = "fault detected!\n";
    CDC_Transmit_FS(sendBuf, strlen(sendBuf));
  }
}

/**
  * @brief  ISR for finished ADC conversion
  * @retval None
  */
void HAL_ADC_ConvCpltCallback(ADC_HandleTypeDef* hadc)
{
  adc_convCompleted = 1;
}

/**
  * @brief  send data via serial
  * @retval None
  */
void sendData(char sig, uint8_t pin, uint16_t state)
{
  //tmp variable to build message
  char sendBuf[12];
  //build message and write that to sendBuf
  sprintf(sendBuf, "%c%i:%i\r\n", sig, pin, state);
  //transmit message via serial
  uint8_t test = CDC_Transmit_FS(sendBuf, strlen(sendBuf));

  //HAL_Delay(100);
  //while (&hUsbDeviceFS.pClassData ->TxState != 0);

}

/**
  * @brief  setting output X? to state ? -> A15->1
  * @retval None
  */
void setOutput(uint8_t pin, uint8_t state)
{
  //LUT (LookUpTable)
  //8 bit value - 4 MSB = Expander 0...7; 4 LSB = 16 bit per Expander
  //expander 0: 0000|0000 up to 0000|1111; expander 1: 0001|0000 up to 0001|1111; ... expander 7: 0111|0000 up to 0111|1111;
  static const uint8_t outputs[64] = {67, 75, 74, 66, 73, 68, 65, 69, 70, 64, 71, 72,255,114, 76, 77, //column A (expander 4 & 7)
                                      55, 54, 53, 52, 51, 50, 49, 48, 15, 14, 13, 12, 11, 10, 9, 255, //column B (expander 0 & 3)
                                      118,8,  7, 117, 6,  1, 116, 2,  3, 115, 4,  5, 119,255, 0, 255, //column C (expander 0 & 7)
                                      112,113,78,79,  60, 61, 62, 63,255,255,255,255,255,255,255,255};//column D, E, Res (expander 3, 4 & 7)

  //calculate expander from outputs-LUT (LUT = LookUpTable)
  //the 4 MSBs indicate which expander needs to be written to - identical to devide by 16 or right shift by 4 bits
  uint8_t expander_no = (outputs[pin] / 16);
  //calculate expander pin from outputs-LUT (LUT = LookUpTable)
  //the 4 LSBs indicate which expander needs to be written to - identical to modulo by 16 or by masking the 4 least segnificant bits
  uint8_t hw_pin = (outputs[pin])%16;

  //Error Handling
  if(expander_no > number_of_exp-1 || outputs[pin] == 255 || state < 0 || state > 1)
  {
    if(SerialConnected == 1 && manual_CMD_Mode == 0)
    {
      CDC_Transmit_FS("F1:1\n", 5);
      return;
    }
    if(SerialConnected == 1 && manual_CMD_Mode == 1)
    {
      CDC_Transmit_FS("F1:1\nOutput write Fault!\n",25);
      return;
    }
  }

  //write to calculated pin - state needs to be inverted
  pca9555_DigitalWrite(&exp[expander_no], hw_pin, 0b1 ^ state);
}

/**
  * @brief  find overall/software pin with expander-pin
  * @retval returns software/overall pin
  */
uint8_t getinput(uint8_t expander, uint8_t pin)
{
  //LUT (LookUpTable)
  //8 bit value - 4 MSB = ; 4 LSB = 16 bit per Expander
  //expander 0: 0000|0000 up to 0000|1111; expander 1: 0001|0000 up to 0001|1111; ... expander 7: 0111|0000 up to 0111|1111;
  static const uint8_t inputs[128] = {0,  0,  0,  0,  0,  0,  0,  0,  0,  0,  0,  0,  0,  0,  0,  0,  //expander0 - U4 - EXP_INT1 - just outputs (B & C)
                                      41, 37, 38, 39, 35, 40, 32, 42, 57, 45, 43, 44, 36, 46, 34, 33, //expander1 - U5 - EXP_INT2 - just inputs  (C & Key)
                                      23, 30, 22, 29, 21, 28, 20, 27, 26, 19, 25, 18, 24, 17, 16,255, //expander2 - U6 - EXP_INT3 - just inputs  (B)
                                      0,  0,  0,  0,  0,  0,  0,  0,  52, 53, 54, 55, 0,  0,  0,  0,  //expander3 - U7 - EXP_INT4 - inputs and outputs  (B & RES)
                                      0,  0,  0,  0,  0,  0,  0,  0,  0,  0,  0,  0,  0,  0,  0,  0,  //expander4 - U8 - EXP_INT5 - just outputs (A & E)
                                      9,  5,  6,  7,  3,  8,  0,  10, 72, 73, 11, 74, 4,  75, 2,  1,  //expander5 - U9 - EXP_INT6 - just inputs (A & ENC2)
                                      14, 64, 15, 65, 50, 66, 51, 67, 48, 49, 68, 58, 13, 56, 59, 12, //expander6 - U10- EXP_INT7 - just inputs (A, D, E, Key & ENC1)
                                      0,  0,  0,  0,  0,  0,  0,  0, 255,255,255,255,255,255,255,255};//expander7 - U11- EXP_INT8 - just outputs (A, D & E)
  /* completed with outputs - not needed, reverse search also not possible
  uint8_t input[64] = { 46, 37, 39, 40, 42, 43, 36, 34, 33, 30, 29, 28, 27, 26, 25, 24, //expander0 - U4 - EXP_INT1 - just outputs (B & C)
                        41, 37, 38, 39, 35, 40, 32, 42,113, 45, 43, 44, 36, 46, 34, 33, //expander1 - U5 - EXP_INT2 - just inputs  (C & Key)
                        23, 30, 22, 29, 21, 28, 20, 27, 26, 19, 25, 18, 24, 17, 16,255, //expander2 - U6 - EXP_INT3 - just inputs  (B)
                        23, 22, 21, 20, 19, 18, 17, 16, 52, 53, 54, 55, 52, 53, 54, 55, //expander3 - U7 - EXP_INT4 - inputs and outputs  (B & RES)
                        9,  6,  3,  0,  5,  7,  8,  10, 11, 4,  2,  1,  14, 15, 50, 51, //expander4 - U8 - EXP_INT5 - just outputs (A & E)
                        9,  5,  6,  7,  3,  8,  0,  10, 72, 73, 11, 75, 4,  74, 2,  1,  //expander5 - U9 - EXP_INT6 - just inputs (A & ENC2)
                        14, 64, 15, 65, 50, 67, 51, 66, 48, 49, 68,114, 13,112,115, 12, //expander6 - U10- EXP_INT7 - just inputs (A, D, E & ENC1)
                        48, 49, 13, 41, 38, 35, 32, 44,255,255,255,255,255,255,255,255};//expander7 - U11- EXP_INT8 - just outputs (A, C & D)          */

  //calculate position of value in array
  uint8_t array_position = 16*expander + pin;

  //logical check 1/ error handling
  if (array_position >= 128)
  {
    //return 255;
    Error_Handler();
  }

  //logical check 2
  if (inputs[array_position] == 255)
  {
    if(SerialConnected == 1 && manual_CMD_Mode == 1)
    {
      CDC_Transmit_FS("Input reading Fault!\n", 25);
      Error_Handler();
    }
    if(SerialConnected == 1 && manual_CMD_Mode == 0)
    {
      CDC_Transmit_FS("F1:1\n", 5);
      Error_Handler();
    }
  }

  //return software/overall pin
  return inputs[array_position];
}

/**
  * @brief  updates encoder data for corresponding ENC given via pin and sends data via serial
  * @retval None
  */
void updateandsendEncoder(uint8_t pin, uint8_t pin_state)
{
  updateEncoder(pin, pin_state);
  sendEncoder(pin);
}

/**
  * @brief  just updates encoder data for corresponding ENC given via pin
  * @retval None
  */
void updateEncoder(uint8_t pin, uint8_t pin_state)
{
  //both encoders return bits in gray code, these are at first written in gray code to the enc_gray array
  //then converted to the enc_pos value (the position) and then converted to the real value (enc_retval) printed on the Siemens Interface

  //state change of ENC1
  if(pin >= 64 && pin <= 71)
  {
    //set bit to 0
    if(pin_state == 0)
      enc_gray[1] &= ~(0x01 << (pin - 64));
    //set bit to 1
    else
      enc_gray[1] |= (0x01 << (pin - 64));
    //gray to bin conversion
    enc_pos[1] = greyToBin(enc_gray[1]);

    //calculation of real position
    if(enc_pos[1] >= 1 && enc_pos[1] <= 2)
      enc_retval[1] = enc_pos[1] - 1;
    else if(enc_pos[1] >= 3 && enc_pos[1] <= 6)
      enc_retval[1] = (enc_pos[1] - 2)*2;
    else if(enc_pos[1] >= 7 && enc_pos[1] <= 12)
      enc_retval[1] = (enc_pos[1] - 6)*10;
    else if(enc_pos[1] >= 13 && enc_pos[1] <= 23)
      enc_retval[1] = (enc_pos[1] - 12)*5 + 65;
    else if(enc_pos[1] >= 24 && enc_pos[1] <= 32)
      ; //do nothing
    else
    {
      //Error_Handler();
    }
  }
  //state change of ENC2
  else if(pin >= 72 && pin <= 79)
  {
    //set bit to 0
    if(pin_state == 0)
    {
      enc_gray[0] &= ~(0x01 << (pin - 72));
    }
    //set bit to 1
    else
    {
      enc_gray[0] |= (0x01 << (pin - 72));
    }
    //gray to bin conversion
    enc_pos[0] = greyToBin(enc_gray[0]);

    //calculation of real position
    enc_retval[0] = enc_pos[0] * 5 + 45;
  }

  //everything else -> Fault
  else
  {
    return;
  }
}

/**
  * @brief  just sends encoder data via serial, pin determins for which encoder the data needs to be sent
  * @retval None
  */
void sendEncoder(uint8_t pin)
{
  char sendBuf[24] = "";
  char inputtext[12] = "";

  //both encoders return bits in gray code, these are at first written in gray code to the enc_gray array
  //then converted to the enc_pos value (the position) and then converted to the real value (enc_retval) printed on the Siemens Interface

  //state change of ENC1
  if(pin >= 64 && pin <= 71)
  {
    //build message and write that to sendBuf
    sprintf(sendBuf, "%c%i:%i\r\n", 'L', 1, enc_pos[1]);
    sprintf(inputtext, "%c%i:%i\r\n", 'R', 1, enc_retval[1]);
    //append/concatenate old string and new string
    strcat(sendBuf, inputtext);
    //transmit both infos
    CDC_Transmit_FS(sendBuf, strlen(sendBuf));
  }
  //state change of ENC2
  else if(pin >= 72 && pin <= 79)
  {
    //build message and write that to sendBuf
    sprintf(sendBuf, "%c%i:%i\r\n", 'L', 0, enc_pos[0]);
    sprintf(inputtext, "%c%i:%i\r\n", 'R', 0, enc_retval[0]);
    //append/concatenate old string and new string
    strcat(sendBuf, inputtext);
    //transmit both infos
    CDC_Transmit_FS(sendBuf, strlen(sendBuf));
  }
  //everything else -> Fault
  else
  {
    return;
  }
}

/**
  * @brief  gray to bin converter found online https://www.geeksforgeeks.org/gray-to-binary-and-binary-to-gray-conversion/
  * @retval binary value
  */
uint8_t greyToBin(uint8_t n)
{
  uint8_t res = n;
  while (n > 0) {
      n >>= 1;
      res ^= n;
  }
  return res;
}

/**
  * @brief  function to look for every pressed input and send that via serial
  * @retval None
  */
void sendAllInputStatus()
{
  //initial read all inputs
  init_dataregs();
  //string with all set inputs at serial com init state
  char sendBuf[448] = "";
  //for building output text
  char inputtext[40];

  //iterate over all input expanders
  for(uint8_t k = 0; k < number_of_input_exp; k++)
  {
    //iterate over all 16 bits to detect individual high bits
    for(uint8_t i = 0; i < 16; i++)
    {
      //detect a high pin/bit
      if((raw_exp_inputdata[k] >> i) & 0x0001)
      {
        //look up which input is connected to corresponding expander input pin
        uint8_t pressed_input = getinput(input_expander[k], i);

        //is encoder?
        if(pressed_input >= 64 && pressed_input <= 79)
        {
          updateEncoder(pressed_input, (raw_exp_inputdata[k] >> i) & 0x0001);
        }
        //it's not an encoder
        else
        {
          //build message and write that to inputtext
          sprintf(inputtext, "%c%i:%i\r\n", 'I', pressed_input, (raw_exp_inputdata[k] >> i) & 0x0001);
          //append/concatenate old string and new string
          strcat(sendBuf, inputtext);
        }
      }
    }
  }
  //build first message and write that to inputtext
  sprintf(inputtext, "%c%i:%i\r\n%c%i:%i\r\n%c%i:%i\r\n%c%i:%i\r\n", 'L', 0, enc_pos[0], 'R', 0, enc_retval[0], 'L', 1, enc_pos[1], 'R', 1, enc_retval[1]);
  //append/concatenate old string and new string
  strcat(sendBuf, inputtext);

  //send all inputstates
  CDC_Transmit_FS(sendBuf, strlen(sendBuf));
}

/* USER CODE END 4 */

void Error_Handler(void)
{
  __disable_irq();
  while (1)
  {
  }
}
